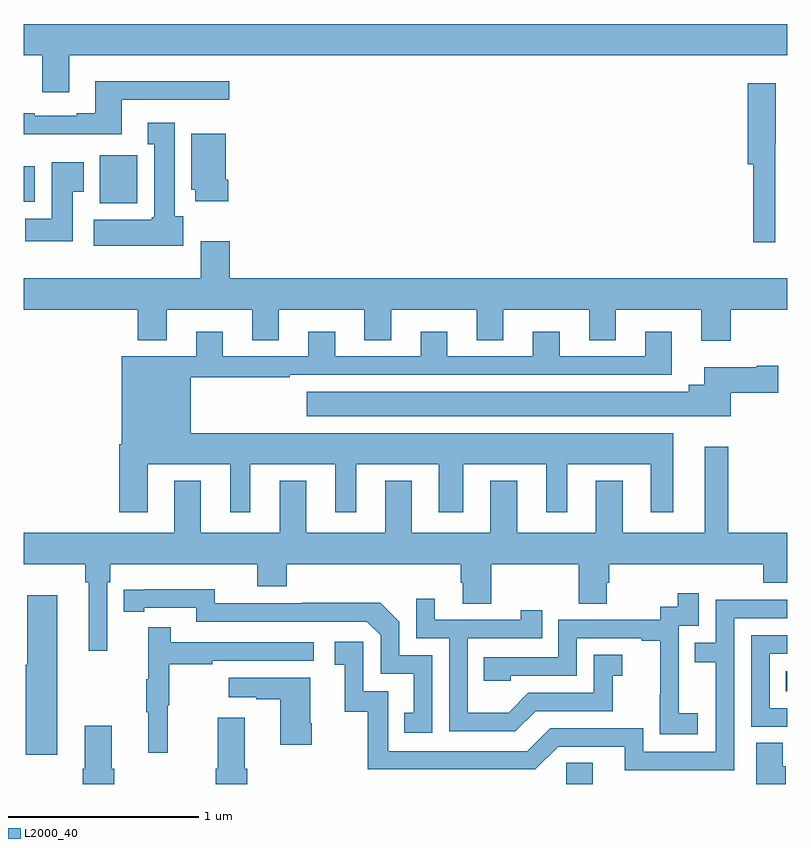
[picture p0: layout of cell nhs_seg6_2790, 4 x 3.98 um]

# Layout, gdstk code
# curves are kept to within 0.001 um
import gdstk
lib = gdstk.Library(unit=1e-6, precision=1e-09)
def R(c, l, rs):  # rectangles x0, y0, x1, y1
    for r in rs: c.add(gdstk.rectangle(r[:2], r[2:], *l))
def P(c, l, *ps):  # polygons
    for p in ps: c.add(gdstk.Polygon(p, *l))
L2000_40 = (2000, 40)

nhs_seg6_2790 = lib.new_cell('nhs_seg6_2790')
R(nhs_seg6_2790, L2000_40, [(277.842,963.5,277.981,963.611), (278.992,963.986,279,964.09), (275.399,966.542,275.595,966.793), (275,966.548,275.059,966.736)])
P(nhs_seg6_2790, L2000_40, [(275.239,967.316),(279,967.316),(279,967.48),(275,967.48),(275,967.316),(275.099,967.316),(275.099,967.122),(275.239,967.122)],
  [(275.515,967.083),(276.076,967.083),(276.076,967.18),(275.375,967.18),(275.375,967.012),(275.279,967.012),(275.279,966.999),(275.059,966.999),(275.059,967.012),(275,967.012),(275,966.902),(275.515,966.902)],
  [(278.937,966.85),(278.938,966.85),(278.938,967.171),(278.792,967.171),(278.792,966.746),(278.821,966.746),(278.821,966.336),(278.937,966.336)],
  [(275.836,966.474),(275.791,966.474),(275.791,966.964),(275.651,966.964),(275.651,966.851),(275.684,966.851),(275.684,966.468),(275.671,966.468),(275.671,966.454),(275.367,966.454),(275.367,966.32),(275.836,966.32)],
  [(276.071,966.664),(276.058,966.664),(276.058,966.904),(275.879,966.904),(275.879,966.612),(275.9,966.612),(275.9,966.552),(276.071,966.552)],
  [(275.257,966.601),(275.314,966.601),(275.314,966.757),(275.147,966.757),(275.147,966.46),(275.008,966.46),(275.008,966.342),(275.257,966.342)],
  [(278.702,965.984),(279,965.984),(279,966.148),(276.08,966.148),(276.08,966.343),(275.927,966.343),(275.927,966.148),(275,966.148),(275,965.984),(275.597,965.984),(275.597,965.825),(275.749,965.825),(275.749,965.984),(276.197,965.984),(276.197,965.824),(276.337,965.824),(276.337,965.984),(276.785,965.984),(276.785,965.824),(276.925,965.824),(276.925,965.984),(277.373,965.984),(277.373,965.824),(277.513,965.824),(277.513,965.984),(277.961,965.984),(277.961,965.824),(278.101,965.824),(278.101,965.984),(278.549,965.984),(278.549,965.82),(278.702,965.82)],
  [(275.65,965.174),(276.083,965.174),(276.083,964.923),(276.187,964.923),(276.187,965.174),(276.632,965.174),(276.632,964.923),(276.742,964.923),(276.742,965.174),(277.175,965.174),(277.175,964.923),(277.303,964.923),(277.303,965.174),(277.736,965.174),(277.736,964.923),(277.846,964.923),(277.846,965.174),(278.285,965.174),(278.285,964.923),(278.401,964.923),(278.401,965.338),(275.875,965.338),(275.875,965.631),(276.395,965.631),(276.395,965.643),(278.395,965.643),(278.395,965.869),(278.255,965.869),(278.255,965.739),(277.807,965.739),(277.807,965.869),(277.667,965.869),(277.667,965.739),(277.219,965.739),(277.219,965.869),(277.079,965.869),(277.079,965.739),(276.631,965.739),(276.631,965.869),(276.491,965.869),(276.491,965.739),(276.043,965.739),(276.043,965.869),(275.903,965.869),(275.903,965.74),(275.513,965.74),(275.513,965.278),(275.501,965.278),(275.501,964.923),(275.65,964.923)],
  [(278.704,965.549),(278.953,965.549),(278.953,965.691),(278.84,965.691),(278.84,965.683),(278.564,965.683),(278.564,965.59),(278.483,965.59),(278.483,965.554),(276.483,965.554),(276.483,965.426),(278.704,965.426)],
  [(278.053,964.554),(278.066,964.554),(278.066,964.652),(278.873,964.652),(278.873,964.553),(279,964.553),(279,964.816),(278.689,964.816),(278.689,965.266),(278.567,965.266),(278.567,964.816),(278.137,964.816),(278.137,965.089),(277.997,965.089),(277.997,964.816),(277.585,964.816),(277.585,965.089),(277.445,965.089),(277.445,964.816),(277.033,964.816),(277.033,965.089),(276.893,965.089),(276.893,964.816),(276.481,964.816),(276.481,965.089),(276.341,965.089),(276.341,964.816),(275.929,964.816),(275.929,965.089),(275.789,965.089),(275.789,964.816),(275,964.816),(275,964.652),(275.323,964.652),(275.323,964.556),(275.342,964.556),(275.342,964.197),(275.439,964.197),(275.439,964.556),(275.453,964.556),(275.453,964.652),(276.224,964.652),(276.224,964.535),(276.377,964.535),(276.377,964.652),(277.289,964.652),(277.289,964.554),(277.301,964.554),(277.301,964.444),(277.449,964.444),(277.449,964.652),(277.906,964.652),(277.906,964.444),(278.053,964.444)],
  [(277.14,964.173),(276.966,964.173),(276.966,964.35),(276.868,964.448),(276.46,964.448),(276.46,964.446),(276,964.446),(276,964.519),(275.524,964.518),(275.524,964.402),(275.632,964.402),(275.632,964.422),(275.904,964.422),(275.904,964.35),(276.798,964.35),(276.87,964.278),(276.87,964.077),(277.043,964.077),(277.043,963.873),(276.994,963.873),(276.994,963.768),(277.14,963.768)],
  [(278.53,963.871),(278.432,963.871),(278.432,964.1),(278.43,964.1),(278.43,964.329),(278.535,964.329),(278.535,964.498),(278.427,964.498),(278.427,964.428),(278.334,964.428),(278.334,964.359),(277.8,964.359),(277.8,964.164),(277.411,964.164),(277.411,964.041),(277.551,964.041),(277.551,964.068),(277.896,964.068),(277.896,964.263),(278.237,964.263),(278.237,964.251),(278.333,964.251),(278.333,963.967),(278.332,963.967),(278.332,963.761),(278.53,963.761)],
  [(275.176,964.489),(275.018,964.489),(275.018,964.125),(275.012,964.125),(275.012,963.654),(275.176,963.654)],
  [(277.681,963.882),(278.085,963.882),(278.085,964.067),(278.134,964.067),(278.134,964.177),(277.986,964.177),(277.986,963.978),(277.644,963.978),(277.54,963.874),(277.326,963.874),(277.326,964.263),(277.715,964.263),(277.715,964.411),(277.604,964.411),(277.604,964.359),(277.153,964.359),(277.153,964.471),(277.056,964.471),(277.056,964.263),(277.23,964.263),(277.23,963.777),(277.576,963.777)],
  [(278.721,964.368),(279,964.368),(279,964.464),(278.625,964.464),(278.625,964.239),(278.515,964.239),(278.515,964.138),(278.625,964.138),(278.625,963.669),(278.244,963.669),(278.244,963.792),(277.758,963.792),(277.638,963.672),(276.909,963.672),(276.909,963.987),(276.78,963.987),(276.78,964.246),(276.63,964.246),(276.63,964.125),(276.683,964.125),(276.683,963.879),(276.801,963.879),(276.801,963.576),(277.68,963.576),(277.8,963.696),(278.147,963.696),(278.147,963.573),(278.721,963.573)],
  [(275.756,963.912),(275.764,963.912),(275.764,964.126),(275.987,964.126),(275.987,964.146),(276.52,964.146),(276.52,964.242),(275.771,964.242),(275.771,964.321),(275.654,964.321),(275.654,964.049),(275.643,964.049),(275.643,963.875),(275.654,963.875),(275.654,963.663),(275.756,963.663)],
  [(279,963.897),(278.907,963.897),(278.907,964.182),(279,964.182),(279,964.278),(278.811,964.278),(278.811,963.801),(279,963.801)],
  [(276.51,963.817),(276.502,963.817),(276.502,964.057),(276.075,964.057),(276.075,963.953),(276.218,963.953),(276.218,963.943),(276.344,963.943),(276.344,963.705),(276.51,963.705)],
  [(276.17,963.58),(276.157,963.58),(276.157,963.847),(276.017,963.847),(276.017,963.58),(276.005,963.58),(276.005,963.5),(276.17,963.5)],
  [(275.474,963.58),(275.461,963.58),(275.461,963.805),(275.321,963.805),(275.321,963.58),(275.309,963.58),(275.309,963.5),(275.474,963.5)],
  [(278.99,963.593),(278.976,963.593),(278.976,963.716),(278.837,963.716),(278.837,963.5),(278.99,963.5)])

lib.write_gds('nhs_seg6_2790.gds')
